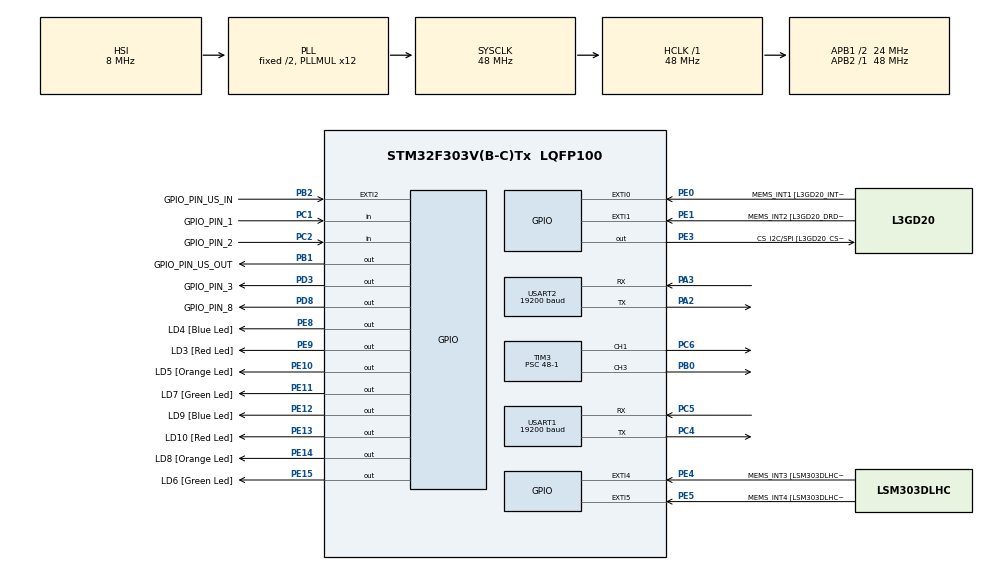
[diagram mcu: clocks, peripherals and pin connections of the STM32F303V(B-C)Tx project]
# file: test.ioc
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Mcu.Family=STM32F3
Mcu.Name=STM32F303V(B-C)Tx
Mcu.Package=LQFP100
NVIC.EXTI2_TSC_IRQn=true\:0\:0\:false\:false\:true\:true\:true\:true
NVIC.PriorityGroup=NVIC_PRIORITYGROUP_0
NVIC.USART1_IRQn=true\:0\:0\:false\:false\:true\:true\:true\:true
NVIC.USART2_IRQn=true\:0\:0\:false\:false\:true\:true\:true\:true
PA11.GPIO_Label=DM
PA11.Signal=USB_DM
PA12.GPIO_Label=DP
PA12.Signal=USB_DP
PA13.GPIO_Label=SWDIO
PA13.Signal=SYS_JTMS-SWDIO
PA14.GPIO_Label=SWCLK
PA14.Signal=SYS_JTCK-SWCLK
PA2.GPIO_ModeDefaultPP=GPIO_MODE_AF_OD
PA2.Mode=Asynchronous
PA2.Signal=USART2_TX
PA3.GPIO_ModeDefaultPP=GPIO_MODE_AF_PP
PA3.Mode=Asynchronous
PA3.Signal=USART2_RX
PA5.GPIO_Label=SPI1_SCK [L3GD20_SCL/SPC]
PA5.GPIO_Mode=GPIO_MODE_AF_PP
PA5.GPIO_PuPd=GPIO_NOPULL
PA5.GPIO_Speed=GPIO_SPEED_FREQ_LOW
PA5.Signal=SPI1_SCK
PA6.GPIO_Label=SPI1_MISO [L3GD20_SA0/SDO]
PA6.GPIO_Mode=GPIO_MODE_AF_PP
PA6.GPIO_PuPd=GPIO_NOPULL
PA6.GPIO_Speed=GPIO_SPEED_FREQ_LOW
PA6.Signal=SPI1_MISO
PA7.GPIO_Label=SPI1_MISO [L3GD20_SDA/SDI/SDO]
PA7.GPIO_Mode=GPIO_MODE_AF_PP
PA7.GPIO_PuPd=GPIO_NOPULL
PA7.GPIO_Speed=GPIO_SPEED_FREQ_LOW
PA7.Signal=SPI1_MOSI
PB0.Signal=S_TIM3_CH3
PB1.GPIO_Label=GPIO_PIN_US_OUT
PB1.GPIO_PuPd=GPIO_PULLDOWN
PB1.GPIO_Speed=GPIO_SPEED_FREQ_MEDIUM
PB1.Signal=GPIO_Output
PB2.GPIO_Label=GPIO_PIN_US_IN
PB2.GPIO_ModeDefaultEXTI=GPIO_MODE_IT_RISING_FALLING
PB2.Signal=GPXTI2
PB3.GPIO_Label=SWO
PB3.Signal=SYS_JTDO-TRACESWO
PB6.GPIO_FM6=__NULL
PB6.GPIO_Label=I2C1_SCL [LSM303DLHC_SCL]
PB6.GPIO_Mode=GPIO_MODE_AF_OD
PB6.GPIO_PuPd=GPIO_NOPULL
PB6.GPIO_Speed=GPIO_SPEED_FREQ_LOW
PB6.Signal=I2C1_SCL
PB7.GPIO_FM7=__NULL
PB7.GPIO_Label=I2C1_SDA [LSM303DLHC_SDA]
PB7.GPIO_Mode=GPIO_MODE_AF_OD
PB7.GPIO_PuPd=GPIO_NOPULL
PB7.GPIO_Speed=GPIO_SPEED_FREQ_LOW
PB7.Signal=I2C1_SDA
PC1.GPIO_Label=GPIO_PIN_1
PC1.Signal=GPIO_Input
PC14-OSC32_IN.GPIO_Label=OSC32_IN
PC14-OSC32_IN.Signal=RCC_OSC32_IN
PC15-OSC32_OUT.GPIO_Label=OSC32_OUT
PC15-OSC32_OUT.Signal=RCC_OSC32_OUT
PC2.GPIO_Label=GPIO_PIN_2
PC2.GPIO_PuPd=GPIO_PULLDOWN
PC2.Signal=GPIO_Input
PC4.GPIO_ModeDefaultPP=GPIO_MODE_AF_OD
PC4.GPIO_PuPd=GPIO_NOPULL
PC4.Mode=Asynchronous
PC4.Signal=USART1_TX
PC5.GPIO_ModeDefaultPP=GPIO_MODE_AF_PP
PC5.GPIO_PuPd=GPIO_NOPULL
PC5.Mode=Asynchronous
PC5.Signal=USART1_RX
PC6.Signal=S_TIM3_CH1
PD3.GPIO_Label=GPIO_PIN_3
PD3.Signal=GPIO_Output
PD8.GPIO_Label=GPIO_PIN_8
PD8.Signal=GPIO_Output
PE0.GPIO_Label=MEMS_INT1 [L3GD20_INT1]
PE0.GPIO_ModeDefaultEXTI=GPIO_MODE_EVT_RISING
PE0.GPIO_PuPd=GPIO_NOPULL
PE0.Signal=GPXTI0
PE1.GPIO_Label=MEMS_INT2 [L3GD20_DRDY/INT2]
PE1.GPIO_ModeDefaultEXTI=GPIO_MODE_EVT_RISING
PE1.GPIO_PuPd=GPIO_NOPULL
PE1.Signal=GPXTI1
PE10.GPIO_Label=LD5 [Orange Led]
PE10.GPIO_ModeDefaultOutputPP=GPIO_MODE_OUTPUT_PP
PE10.GPIO_PuPd=GPIO_NOPULL
PE10.GPIO_Speed=GPIO_SPEED_FREQ_LOW
PE10.Signal=GPIO_Output
PE11.GPIO_Label=LD7 [Green Led]
PE11.GPIO_ModeDefaultOutputPP=GPIO_MODE_OUTPUT_PP
PE11.GPIO_PuPd=GPIO_NOPULL
PE11.GPIO_Speed=GPIO_SPEED_FREQ_LOW
PE11.Signal=GPIO_Output
PE12.GPIO_Label=LD9 [Blue Led]
PE12.GPIO_ModeDefaultOutputPP=GPIO_MODE_OUTPUT_PP
PE12.GPIO_PuPd=GPIO_NOPULL
PE12.GPIO_Speed=GPIO_SPEED_FREQ_LOW
PE12.Signal=GPIO_Output
PE13.GPIO_Label=LD10 [Red Led]
PE13.GPIO_ModeDefaultOutputPP=GPIO_MODE_OUTPUT_PP
PE13.GPIO_PuPd=GPIO_NOPULL
PE13.GPIO_Speed=GPIO_SPEED_FREQ_LOW
PE13.Signal=GPIO_Output
PE14.GPIO_Label=LD8 [Orange Led]
PE14.GPIO_ModeDefaultOutputPP=GPIO_MODE_OUTPUT_PP
PE14.GPIO_PuPd=GPIO_NOPULL
PE14.GPIO_Speed=GPIO_SPEED_FREQ_LOW
PE14.Signal=GPIO_Output
PE15.GPIO_Label=LD6 [Green Led]
PE15.GPIO_ModeDefaultOutputPP=GPIO_MODE_OUTPUT_PP
PE15.GPIO_PuPd=GPIO_NOPULL
PE15.GPIO_Speed=GPIO_SPEED_FREQ_LOW
PE15.Signal=GPIO_Output
PE3.GPIO_Label=CS_I2C/SPI [L3GD20_CS_I2C/SPI]
PE3.GPIO_ModeDefaultOutputPP=GPIO_MODE_OUTPUT_PP
PE3.GPIO_PuPd=GPIO_NOPULL
PE3.GPIO_Speed=GPIO_SPEED_FREQ_LOW
PE3.Signal=GPIO_Output
PE4.GPIO_Label=MEMS_INT3 [LSM303DLHC_INT1]
PE4.GPIO_ModeDefaultEXTI=GPIO_MODE_EVT_RISING
PE4.GPIO_PuPd=GPIO_NOPULL
PE4.Signal=GPXTI4
PE5.GPIO_Label=MEMS_INT4 [LSM303DLHC_INT2]
PE5.GPIO_ModeDefaultEXTI=GPIO_MODE_EVT_RISING
PE5.GPIO_PuPd=GPIO_NOPULL
PE5.Signal=GPXTI5
PE8.GPIO_Label=LD4 [Blue Led]
PE8.GPIO_ModeDefaultOutputPP=GPIO_MODE_OUTPUT_PP
PE8.GPIO_PuPd=GPIO_NOPULL
PE8.GPIO_Speed=GPIO_SPEED_FREQ_LOW
PE8.Signal=GPIO_Output
PE9.GPIO_Label=LD3 [Red Led]
PE9.GPIO_ModeDefaultOutputPP=GPIO_MODE_OUTPUT_PP
PE9.GPIO_PuPd=GPIO_NOPULL
PE9.GPIO_Speed=GPIO_SPEED_FREQ_LOW
PE9.Signal=GPIO_Output
PF0-OSC_IN.GPIO_Label=OSC_IN
PF0-OSC_IN.Signal=RCC_OSC_IN
PF1-OSC_OUT.GPIO_Label=OSC_OUT
PF1-OSC_OUT.Signal=RCC_OSC_OUT
ProjectManager.HeapSize=0x200
ProjectManager.StackSize=0x400
ProjectManager.TargetToolchain=STM32CubeIDE
RCC.AHBFreq_Value=48000000
RCC.APB1CLKDivider=RCC_HCLK_DIV2
RCC.APB1Freq_Value=24000000
RCC.APB1TimFreq_Value=48000000
RCC.APB2Freq_Value=48000000
RCC.APB2TimFreq_Value=48000000
RCC.CortexFreq_Value=48000000
RCC.HCLKFreq_Value=48000000
RCC.HSE_VALUE=8000000
RCC.HSI_VALUE=8000000
RCC.LSE_VALUE=32768
RCC.PLLMUL=RCC_PLL_MUL12
RCC.SYSCLKFreq_VALUE=48000000
RCC.SYSCLKSourceVirtual=RCC_SYSCLKSOURCE_PLLCLK
RCC.USBFreq_Value=48000000
SH.S_TIM3_CH1.0=TIM3_CH1,PWM Generation1 CH1
SH.S_TIM3_CH3.0=TIM3_CH3,PWM Generation3 CH3
TIM3.Channel-PWM\ Generation1\ CH1=TIM_CHANNEL_1
TIM3.Channel-PWM\ Generation3\ CH3=TIM_CHANNEL_3
TIM3.Period=20000
TIM3.Prescaler=48-1
TIM3.Pulse-PWM\ Generation1\ CH1=2400
USART1.BaudRate=19200
USART1.Mode=MODE_TX_RX
USART1.VirtualMode-Asynchronous=VM_ASYNC
USART2.BaudRate=19200
USART2.VirtualMode-Asynchronous=VM_ASYNC
VP_TIM3_VS_ClockSourceINT.Mode=Internal
board=STM32F3DISCOVERY

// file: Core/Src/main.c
/* USER CODE BEGIN Header */
/**
 ******************************************************************************
 * @file           : main.c
 * @brief          : Main program body
 ******************************************************************************
 * @attention
 *
 * Copyright (c) 2024 STMicroelectronics.
 * All rights reserved.
 *
 * This software is licensed under terms that can be found in the LICENSE file
 * in the root directory of this software component.
 * If no LICENSE file comes with this software, it is provided AS-IS.
 *
 ******************************************************************************
 */
/* USER CODE END Header */
#include "main.h"

/* USER CODE BEGIN Includes */
#include "math.h"
#include <stdint.h>

/* USER CODE END Includes */

TIM_HandleTypeDef htim3;

UART_HandleTypeDef huart1;
UART_HandleTypeDef huart2;

void SystemClock_Config(void);
static void MX_GPIO_Init(void);
static void MX_USART2_UART_Init(void);
static void MX_USART1_UART_Init(void);
static void MX_TIM3_Init(void);
/* USER CODE BEGIN PFP */

/* Functions movement prototypes */
void move_forward_slow(void);
void move_forward_fast(void);
void move_backward_slow(void);
void turn_left(void);
void turn_right(void);
void move_stop(void);

/* Functions step movement prototypes */
void step_turn_right(void);
void step_turn_left(void);
void step_move_forward(void);
void step_min_move_forward(void);
void demi_tour(void);

/* Functions servo motor prototypes */
void look_left(void);
void look_forward(void);
void look_right(void);
void led_straigth(void);

/* Functions LED and speaker prototypes */
void switchOnLed(void);
void switchOffLed(void);
void switchOnSpeaker(void);
void switchOffSpeaker(void);
void toggleOutputSlow(void);
void toggleOutputFast(void);

/* Functions US sensor prototypes */
void send_trigger_pulse(void);
float measure_echo_pulse_duration(void);
float measure_distance(void);

/* Function follow line prototype */
void follow_line(void);

/* Functions obstacle avoidance prototypes */
void transiGoLineToGoLeft(void);
void goLeftWantUp(void);
void transiGoLeftToGoUp(void);
void goUpWantRight(void);
void transiGoUpToGoRight(void);
void goRightWantLine(void);
void transiGoRightToGoUp(void);

/* USER CODE END PFP */

/* USER CODE BEGIN 0 */

uint8_t uart1_buffer[1] = {' '};        // Buffer for UART1 (Serializer)
uint8_t uart2_buffer[1] = {' '};        // Buffer for UART2 (Raspberry Pi)

uint8_t us_sensor_echo_value = 0;       // Value of the US sensor echo signal

const float minDistDetect = 0.015;      // Minimum distance to detect an obstacle
const float shortDistDetect = 0.05;     // Short distance to detect an obstacle
const float longDistDetect = 0.07;      // Long distance to detect an obstacle

int on_line = 1;                        // Flag to know if the robot is on the line or in obstacle avoidance mode

/* USER CODE END 0 */

int main(void)
{

  /* MCU Configuration--------------------------------------------------------*/

  /* Reset of all peripherals, Initializes the Flash interface and the Systick. */
  HAL_Init();

  /* Configure the system clock */
  SystemClock_Config();

  /* Initialize all configured peripherals */
  MX_GPIO_Init();
  MX_USART2_UART_Init();
  MX_USART1_UART_Init();
  MX_TIM3_Init();
  /* USER CODE BEGIN 2 */

    HAL_UART_Receive_IT(&huart1, uart1_buffer, 1);  // Prepare UART1 reception
    HAL_UART_Receive_IT(&huart2, uart2_buffer, 1);  // Prepare UART2 reception

    HAL_TIM_PWM_Start(&htim3, TIM_CHANNEL_1);       // Prepare PWM for horizontal turret servo motor
    HAL_TIM_PWM_Start(&htim3, TIM_CHANNEL_2);       // Prepare PWM for vertical turret servo motor

    look_forward();                                 // Set the turret servo motor to look forward

  /* USER CODE END 2 */

  /* Infinite loop */
  /* USER CODE BEGIN WHILE */

    while (1) {
        // Test functions (turn 90°, turn 180°, go forward 20/10cm, look left then right then forward and get the distance from the US sensor)
    	/*
    	step_turn_right();
        HAL_Delay(1000);

    	step_turn_left();
        HAL_Delay(1000);

    	demi_tour();
    	HAL_Delay(1000);

        step_move_forward();
        HAL_Delay(1000);

        step_min_move_forward();
        HAL_Delay(1000);

        look_left();
        HAL_Delay(2000);

        look_right();
        HAL_Delay(2000);

        look_forward();
        HAL_Delay(1000);

        send_trigger_pulse();
        float distance = measure_echo_pulse_duration();
        HAL_Delay(1000);
        */

        // Basic movement
    	/*
        move_forward_slow();
        HAL_Delay(500);
        turn_left();
        HAL_Delay(500);
        move_backward_fast();
        HAL_Delay(500);
        turn_right();
        HAL_Delay(500);
        move_stop();
        HAL_Delay(1000);
        */

        // Test servo motor
        /*
        HAL_Delay(2000);
        led_straigth();
        HAL_Delay(2000);
        look_left();
        HAL_Delay(2000);
        look_forward();
        HAL_Delay(2000);
        look_right();
        HAL_Delay(2000);
        look_forward();
        HAL_Delay(2000);
        look_right();
        */

        // Test US sensor
    	/*
        HAL_Delay(100);
        send_trigger_pulse();
        float distance = measure_echo_pulse_duration();
        if (distance > 10) {
        	continue;
        } else {
        	break;
        }
        */

        // Implement US sensor and move
    	/*
        send_trigger_pulse();
        float distance = measure_echo_pulse_duration();
        if (distance != 0) {
			if (distance < 0.04) {
				move_stop();
			} else if (distance < 0.1) {
				move_forward_slow();
			} else  {
				move_forward_fast();
			}
        }
        */

        // Implement line sensor and move
        /*
        uint32_t photodiode_value_right = HAL_GPIO_ReadPin(GPIOC, GPIO_PIN_1);
        uint32_t photodiode_value_left = HAL_GPIO_ReadPin(GPIOC, GPIO_PIN_2);

        if (photodiode_value_right == GPIO_PIN_RESET && photodiode_value_left == GPIO_PIN_RESET) {
            move_forward_slow();
        } else if (photodiode_value_right == GPIO_PIN_RESET && photodiode_value_left == GPIO_PIN_SET) {
            turn_right();
        } else if (photodiode_value_right == GPIO_PIN_SET && photodiode_value_left == GPIO_PIN_RESET) {
            turn_left();
        } else {
            move_stop();
        }
        HAL_Delay(50);
        */

    	// Implement line sensor, US sensor and move
    	/*
    	look_forward();

        float distance = 0.0;
        while (distance == 0) {
			send_trigger_pulse();
			distance = measure_echo_pulse_duration();
        }

		if (distance > 0.02) {
			uint32_t photodiode_value_right = HAL_GPIO_ReadPin(GPIOC, GPIO_PIN_1);
			uint32_t photodiode_value_left = HAL_GPIO_ReadPin(GPIOC, GPIO_PIN_2);

			if (photodiode_value_right == GPIO_PIN_RESET && photodiode_value_left == GPIO_PIN_RESET) {
				if (distance < 0.07) {
					move_forward_slow();
				} else {
					move_forward_fast();
				}
			} else if (photodiode_value_right == GPIO_PIN_RESET && photodiode_value_left == GPIO_PIN_SET) {
				turn_right();
			} else if (photodiode_value_right == GPIO_PIN_SET && photodiode_value_left == GPIO_PIN_RESET) {
				turn_left();
			} else {
				move_stop();
			}
		} else {
			move_stop();
		}
		*/

    	// Move with all sensor and go around obstacle
    	/*
    	look_forward();
        float distance = measure_distance();

        if (distance > shortDistDetect) {
            uint32_t photodiode_value_right = HAL_GPIO_ReadPin(GPIOC, GPIO_PIN_1);
            uint32_t photodiode_value_left = HAL_GPIO_ReadPin(GPIOC, GPIO_PIN_2);

            if (photodiode_value_right == GPIO_PIN_RESET && photodiode_value_left == GPIO_PIN_RESET) {
				if (distance <= longDistDetect) {
					move_forward_slow();
				} else {
					move_forward_fast();
				}
			} else if (photodiode_value_right == GPIO_PIN_RESET && photodiode_value_left == GPIO_PIN_SET) {
				turn_right();
			} else if (photodiode_value_right == GPIO_PIN_SET && photodiode_value_left == GPIO_PIN_RESET) {
				turn_left();
			} else {
				move_stop();
				uint8_t interuption[1] = "I";
				HAL_UART_Transmit(&huart2, interuption, sizeof(interuption), 50);
			}
        } else {
        	move_stop();
			if (distance > minDistDetect) {
				look_left();
				distance = measure_distance();

				if (distance < shortDistDetect) {
					toggleOutputFast();
					HAL_Delay(10000);
				} else {
					transiGoLineToGoLeft();
				}
			}
        }
        */

        // Follow raspberry instruction to move
    	look_forward();
        switch (uart2_buffer[0]) {
            case 'F':               // Follow line
                follow_line();
                break;
            case 'D':               // Turn right
            	move_stop();
            	HAL_Delay(1000);
                step_turn_right();
                uart2_buffer[0] = 'S';
                break;
            case 'Q':               // Turn left
            	move_stop();
            	HAL_Delay(1000);
                step_turn_left();
                uart2_buffer[0] = 'S';
                break;
            case 'R':               // Turn around
            	move_stop();
            	HAL_Delay(1000);
                step_turn_right();
                step_turn_right();
                uart2_buffer[0] = 'S';
                break;
            case 'Z':               // Move a little forward
            	move_stop();
            	HAL_Delay(1000);
				step_min_move_forward();
				uart2_buffer[0] = 'S';
                break;
            case 'T':               // Toggle LED and speaker (book found)
            	move_stop();
            	toggleOutputSlow();
            	uart2_buffer[0] = 'S';
            	break;
            default:                // Stop the robot
                move_stop();
        }
        HAL_Delay(5);

    /* USER CODE END WHILE */

    }
}

void SystemClock_Config(void)
{
  RCC_OscInitTypeDef RCC_OscInitStruct = {0};
  RCC_ClkInitTypeDef RCC_ClkInitStruct = {0};
  RCC_PeriphCLKInitTypeDef PeriphClkInit = {0};

  /** Initializes the RCC Oscillators according to the specified parameters
  * in the RCC_OscInitTypeDef structure.
  */
  RCC_OscInitStruct.OscillatorType = RCC_OSCILLATORTYPE_HSI;
  RCC_OscInitStruct.HSIState = RCC_HSI_ON;
  RCC_OscInitStruct.HSICalibrationValue = RCC_HSICALIBRATION_DEFAULT;
  RCC_OscInitStruct.PLL.PLLState = RCC_PLL_ON;
  RCC_OscInitStruct.PLL.PLLSource = RCC_PLLSOURCE_HSI;
  RCC_OscInitStruct.PLL.PLLMUL = RCC_PLL_MUL12;
  if (HAL_RCC_OscConfig(&RCC_OscInitStruct) != HAL_OK)
  {
    Error_Handler();
  }

  /** Initializes the CPU, AHB and APB buses clocks
  */
  RCC_ClkInitStruct.ClockType = RCC_CLOCKTYPE_HCLK|RCC_CLOCKTYPE_SYSCLK
                              |RCC_CLOCKTYPE_PCLK1|RCC_CLOCKTYPE_PCLK2;
  RCC_ClkInitStruct.SYSCLKSource = RCC_SYSCLKSOURCE_PLLCLK;
  RCC_ClkInitStruct.AHBCLKDivider = RCC_SYSCLK_DIV1;
  RCC_ClkInitStruct.APB1CLKDivider = RCC_HCLK_DIV2;
  RCC_ClkInitStruct.APB2CLKDivider = RCC_HCLK_DIV1;

  if (HAL_RCC_ClockConfig(&RCC_ClkInitStruct, FLASH_LATENCY_1) != HAL_OK)
  {
    Error_Handler();
  }
  PeriphClkInit.PeriphClockSelection = RCC_PERIPHCLK_USART1|RCC_PERIPHCLK_USART2;
  PeriphClkInit.Usart1ClockSelection = RCC_USART1CLKSOURCE_PCLK2;
  PeriphClkInit.Usart2ClockSelection = RCC_USART2CLKSOURCE_PCLK1;
  if (HAL_RCCEx_PeriphCLKConfig(&PeriphClkInit) != HAL_OK)
  {
    Error_Handler();
  }
}

static void MX_TIM3_Init(void)
{

  TIM_ClockConfigTypeDef sClockSourceConfig = {0};
  TIM_MasterConfigTypeDef sMasterConfig = {0};
  TIM_OC_InitTypeDef sConfigOC = {0};

  htim3.Instance = TIM3;
  htim3.Init.Prescaler = 48-1;
  htim3.Init.CounterMode = TIM_COUNTERMODE_UP;
  htim3.Init.Period = 20000;
  htim3.Init.ClockDivision = TIM_CLOCKDIVISION_DIV1;
  htim3.Init.AutoReloadPreload = TIM_AUTORELOAD_PRELOAD_DISABLE;
  if (HAL_TIM_Base_Init(&htim3) != HAL_OK)
  {
    Error_Handler();
  }
  sClockSourceConfig.ClockSource = TIM_CLOCKSOURCE_INTERNAL;
  if (HAL_TIM_ConfigClockSource(&htim3, &sClockSourceConfig) != HAL_OK)
  {
    Error_Handler();
  }
  if (HAL_TIM_PWM_Init(&htim3) != HAL_OK)
  {
    Error_Handler();
  }
  sMasterConfig.MasterOutputTrigger = TIM_TRGO_RESET;
  sMasterConfig.MasterSlaveMode = TIM_MASTERSLAVEMODE_DISABLE;
  if (HAL_TIMEx_MasterConfigSynchronization(&htim3, &sMasterConfig) != HAL_OK)
  {
    Error_Handler();
  }
  sConfigOC.OCMode = TIM_OCMODE_PWM1;
  sConfigOC.Pulse = 2400;
  sConfigOC.OCPolarity = TIM_OCPOLARITY_HIGH;
  sConfigOC.OCFastMode = TIM_OCFAST_DISABLE;
  if (HAL_TIM_PWM_ConfigChannel(&htim3, &sConfigOC, TIM_CHANNEL_1) != HAL_OK)
  {
    Error_Handler();
  }
  sConfigOC.Pulse = 0;
  if (HAL_TIM_PWM_ConfigChannel(&htim3, &sConfigOC, TIM_CHANNEL_3) != HAL_OK)
  {
    Error_Handler();
  }
  HAL_TIM_MspPostInit(&htim3);

}

static void MX_USART1_UART_Init(void)
{

  huart1.Instance = USART1;
  huart1.Init.BaudRate = 19200;
  huart1.Init.WordLength = UART_WORDLENGTH_8B;
  huart1.Init.StopBits = UART_STOPBITS_1;
  huart1.Init.Parity = UART_PARITY_NONE;
  huart1.Init.Mode = UART_MODE_TX_RX;
  huart1.Init.HwFlowCtl = UART_HWCONTROL_NONE;
  huart1.Init.OverSampling = UART_OVERSAMPLING_16;
  huart1.Init.OneBitSampling = UART_ONE_BIT_SAMPLE_DISABLE;
  huart1.AdvancedInit.AdvFeatureInit = UART_ADVFEATURE_NO_INIT;
  if (HAL_UART_Init(&huart1) != HAL_OK)
  {
    Error_Handler();
  }

}

static void MX_USART2_UART_Init(void)
{

  huart2.Instance = USART2;
  huart2.Init.BaudRate = 19200;
  huart2.Init.WordLength = UART_WORDLENGTH_8B;
  huart2.Init.StopBits = UART_STOPBITS_1;
  huart2.Init.Parity = UART_PARITY_NONE;
  huart2.Init.Mode = UART_MODE_TX_RX;
  huart2.Init.HwFlowCtl = UART_HWCONTROL_NONE;
  huart2.Init.OverSampling = UART_OVERSAMPLING_16;
  huart2.Init.OneBitSampling = UART_ONE_BIT_SAMPLE_DISABLE;
  huart2.AdvancedInit.AdvFeatureInit = UART_ADVFEATURE_NO_INIT;
  if (HAL_UART_Init(&huart2) != HAL_OK)
  {
    Error_Handler();
  }

}

static void MX_GPIO_Init(void)
{
  GPIO_InitTypeDef GPIO_InitStruct = {0};

  /* GPIO Ports Clock Enable */
  __HAL_RCC_GPIOE_CLK_ENABLE();
  __HAL_RCC_GPIOC_CLK_ENABLE();
  __HAL_RCC_GPIOF_CLK_ENABLE();
  __HAL_RCC_GPIOA_CLK_ENABLE();
  __HAL_RCC_GPIOB_CLK_ENABLE();
  __HAL_RCC_GPIOD_CLK_ENABLE();

  /*Configure GPIO pin Output Level */
  HAL_GPIO_WritePin(GPIOE, CS_I2C_SPI_Pin|LD4_Pin|LD3_Pin|LD5_Pin
                          |LD7_Pin|LD9_Pin|LD10_Pin|LD8_Pin
                          |LD6_Pin, GPIO_PIN_RESET);

  /*Configure GPIO pin Output Level */
  HAL_GPIO_WritePin(GPIO_PIN_US_OUT_GPIO_Port, GPIO_PIN_US_OUT_Pin, GPIO_PIN_RESET);

  /*Configure GPIO pin Output Level */
  HAL_GPIO_WritePin(GPIOD, GPIO_PIN_8_Pin|GPIO_PIN_3_Pin, GPIO_PIN_RESET);

  /*Configure GPIO pins : CS_I2C_SPI_Pin LD4_Pin LD3_Pin LD5_Pin
                           LD7_Pin LD9_Pin LD10_Pin LD8_Pin
                           LD6_Pin */
  GPIO_InitStruct.Pin = CS_I2C_SPI_Pin|LD4_Pin|LD3_Pin|LD5_Pin
                          |LD7_Pin|LD9_Pin|LD10_Pin|LD8_Pin
                          |LD6_Pin;
  GPIO_InitStruct.Mode = GPIO_MODE_OUTPUT_PP;
  GPIO_InitStruct.Pull = GPIO_NOPULL;
  GPIO_InitStruct.Speed = GPIO_SPEED_FREQ_LOW;
  HAL_GPIO_Init(GPIOE, &GPIO_InitStruct);

  /*Configure GPIO pins : MEMS_INT3_Pin MEMS_INT4_Pin MEMS_INT1_Pin MEMS_INT2_Pin */
  GPIO_InitStruct.Pin = MEMS_INT3_Pin|MEMS_INT4_Pin|MEMS_INT1_Pin|MEMS_INT2_Pin;
  GPIO_InitStruct.Mode = GPIO_MODE_EVT_RISING;
  GPIO_InitStruct.Pull = GPIO_NOPULL;
  HAL_GPIO_Init(GPIOE, &GPIO_InitStruct);

  /*Configure GPIO pin : PtPin */
  GPIO_InitStruct.Pin = GPIO_PIN_1_Pin;
  GPIO_InitStruct.Mode = GPIO_MODE_INPUT;
  GPIO_InitStruct.Pull = GPIO_NOPULL;
  HAL_GPIO_Init(GPIO_PIN_1_GPIO_Port, &GPIO_InitStruct);

  /*Configure GPIO pin : PtPin */
  GPIO_InitStruct.Pin = GPIO_PIN_2_Pin;
  GPIO_InitStruct.Mode = GPIO_MODE_INPUT;
  GPIO_InitStruct.Pull = GPIO_PULLDOWN;
  HAL_GPIO_Init(GPIO_PIN_2_GPIO_Port, &GPIO_InitStruct);

  /*Configure GPIO pins : SPI1_SCK_Pin SPI1_MISO_Pin SPI1_MISOA7_Pin */
  GPIO_InitStruct.Pin = SPI1_SCK_Pin|SPI1_MISO_Pin|SPI1_MISOA7_Pin;
  GPIO_InitStruct.Mode = GPIO_MODE_AF_PP;
  GPIO_InitStruct.Pull = GPIO_NOPULL;
  GPIO_InitStruct.Speed = GPIO_SPEED_FREQ_LOW;
  GPIO_InitStruct.Alternate = GPIO_AF5_SPI1;
  HAL_GPIO_Init(GPIOA, &GPIO_InitStruct);

  /*Configure GPIO pin : PtPin */
  GPIO_InitStruct.Pin = GPIO_PIN_US_OUT_Pin;
  GPIO_InitStruct.Mode = GPIO_MODE_OUTPUT_PP;
  GPIO_InitStruct.Pull = GPIO_PULLDOWN;
  GPIO_InitStruct.Speed = GPIO_SPEED_FREQ_MEDIUM;
  HAL_GPIO_Init(GPIO_PIN_US_OUT_GPIO_Port, &GPIO_InitStruct);

  /*Configure GPIO pin : PtPin */
  GPIO_InitStruct.Pin = GPIO_PIN_US_IN_Pin;
  GPIO_InitStruct.Mode = GPIO_MODE_IT_RISING_FALLING;
  GPIO_InitStruct.Pull = GPIO_NOPULL;
  HAL_GPIO_Init(GPIO_PIN_US_IN_GPIO_Port, &GPIO_InitStruct);

  /*Configure GPIO pins : PDPin PDPin */
  GPIO_InitStruct.Pin = GPIO_PIN_8_Pin|GPIO_PIN_3_Pin;
  GPIO_InitStruct.Mode = GPIO_MODE_OUTPUT_PP;
  GPIO_InitStruct.Pull = GPIO_NOPULL;
  GPIO_InitStruct.Speed = GPIO_SPEED_FREQ_LOW;
  HAL_GPIO_Init(GPIOD, &GPIO_InitStruct);

  /*Configure GPIO pins : DM_Pin DP_Pin */
  GPIO_InitStruct.Pin = DM_Pin|DP_Pin;
  GPIO_InitStruct.Mode = GPIO_MODE_AF_PP;
  GPIO_InitStruct.Pull = GPIO_NOPULL;
  GPIO_InitStruct.Speed = GPIO_SPEED_FREQ_HIGH;
  GPIO_InitStruct.Alternate = GPIO_AF14_USB;
  HAL_GPIO_Init(GPIOA, &GPIO_InitStruct);

  /*Configure GPIO pins : I2C1_SCL_Pin I2C1_SDA_Pin */
  GPIO_InitStruct.Pin = I2C1_SCL_Pin|I2C1_SDA_Pin;
  GPIO_InitStruct.Mode = GPIO_MODE_AF_OD;
  GPIO_InitStruct.Pull = GPIO_NOPULL;
  GPIO_InitStruct.Speed = GPIO_SPEED_FREQ_LOW;
  GPIO_InitStruct.Alternate = GPIO_AF4_I2C1;
  HAL_GPIO_Init(GPIOB, &GPIO_InitStruct);

  /* EXTI interrupt init*/
  HAL_NVIC_SetPriority(EXTI2_TSC_IRQn, 0, 0);
  HAL_NVIC_EnableIRQ(EXTI2_TSC_IRQn);

}

/* USER CODE BEGIN 4 */

/*
 * Global callback functions
*/

/* Callback function for US sensor interruption */
void HAL_GPIO_EXTI_Callback(uint16_t GPIO_Pin) {
    UNUSED(GPIO_Pin);
    if (GPIO_Pin == GPIO_PIN_US_IN_Pin) {
        us_sensor_echo_value = HAL_GPIO_ReadPin(GPIO_PIN_US_IN_GPIO_Port, GPIO_PIN_US_IN_Pin);
    }
}

/* Callback function for UART reception */
void HAL_UART_RxCpltCallback(UART_HandleTypeDef *huart) {
    UNUSED(huart);

    if (huart->Instance == USART2) {
        HAL_UART_Receive_IT(&huart2, uart2_buffer, 1);
    } else {
        Error_Handler();
    }
}

/*
 * Mouvemnt functions
*/

/* Send a command to the robot to move forward slowly */
void move_forward_slow(void) {
    uint8_t go_forward[13] = "mogo 1:5 2:5\r";
    HAL_UART_Transmit(&huart1, go_forward, sizeof(go_forward), 50);
}

/* Send a command to the robot to move forward fast */
void move_forward_fast(void) {
    uint8_t go_forward[15] = "mogo 1:7 2:7\r";
    HAL_UART_Transmit(&huart1, go_forward, sizeof(go_forward), 50);
}

/* Send a command to the robot to move backward slowly */
void move_backward_slow(void) {
    uint8_t go_backward[15] = "mogo 1:-5 2:-5\r";
    HAL_UART_Transmit(&huart1, go_backward, sizeof(go_backward), 50);
}

/* Send a command to the robot to turn left */
void turn_left(void) {
    uint8_t go_left[16] = "mogo 1:-5 2:5\r";
    HAL_UART_Transmit(&huart1, go_left, sizeof(go_left), 50);
}

/* Send a command to the robot to turn right */
void turn_right(void) {
    uint8_t go_right[16] = "mogo 1:5 2:-5\r";
    HAL_UART_Transmit(&huart1, go_right, sizeof(go_right), 50);
}

/* Send a command to the robot to stop moving */
void move_stop(void) {
    uint8_t stop[5] = "stop\r";
    HAL_UART_Transmit(&huart1, stop, sizeof(stop), 50);
}

/*
 * Step movement functions
*/

/* Send a command to the robot to turn right (90°) */
void step_turn_right(void) {
	uint8_t go_right[26] = "digo 1:1500:-12 2:1500:12\r";
	HAL_UART_Transmit(&huart1, go_right, sizeof(go_right), 50);
	HAL_Delay(2000);
}

/* Send a command to the robot to turn left (90°) */
void step_turn_left(void) {
	uint8_t go_left[26] = "digo 1:1500:12 2:1500:-12\r";
	HAL_UART_Transmit(&huart1, go_left, sizeof(go_left), 50);
	HAL_Delay(2000);
}

/* Send a command to the robot to turn around (180°) */
void demi_tour(void) {
	step_turn_right();
    step_turn_right();
}

/* Send a command to the robot to move forward (20cm) */
void step_move_forward(void) {
    move_forward_slow();
    HAL_Delay(1650);
    move_stop();
    HAL_Delay(10);
}

/* Send a command to the robot to move forward (10cm) */
void step_min_move_forward(void) {
    move_forward_slow();
    HAL_Delay(800);
    move_stop();
    HAL_Delay(10);
}

/*
 * Servo motor functions
*/

/* Send a command to the horizontal turret servo motor to look left */
void look_left(void) {
    htim3.Instance->CCR1 = 600;
}

/* Send a command to the horizontal turret servo motor to look forward */
void look_forward(void) {
    htim3.Instance->CCR1 = 1500;
}

/* Send a command to the horizontal turret servo motor to look right */
void look_right(void) {
    htim3.Instance->CCR1 = 2400;
}

/* Send a command to the vertical turret servo motor to look straight */
void led_straigth(void) {
    htim3.Instance->CCR3 = 2400;
}

/*
 * TOGGLE LED and speacker functions
*/

/* Allumer la LED */
void switchOnLed(void) {
	HAL_GPIO_WritePin(GPIOD, GPIO_PIN_3, GPIO_PIN_SET);
}

/* Éteindre la LED */
void switchOffLed(void) {
	HAL_GPIO_WritePin(GPIOD, GPIO_PIN_3, GPIO_PIN_RESET);
}

/* Faire du bruit avec le speaker */
void switchOnSpeaker(void) {
    HAL_GPIO_WritePin(GPIOD, GPIO_PIN_8, GPIO_PIN_SET);
}

/* Arrêter le bruit avec le speaker */
void switchOffSpeaker(void) {
    HAL_GPIO_WritePin(GPIOD, GPIO_PIN_8, GPIO_PIN_RESET);
}

/* Faire bipper la LED et le speaker lentement */
void toggleOutputSlow(void) {
    for (int i = 0; i < 5; i++) {
        // Allumer la LED et le speaker
        switchOnLed();
        switchOnSpeaker();
        HAL_Delay(800);

        // Éteindre la LED et le speaker
        switchOffLed();
        switchOffSpeaker();
        HAL_Delay(800);
    }
}

/* Faire bipper la LED et le speaker rapidement */
void toggleOutputFast(void) {
    for (int i = 0; i < 5; i++) {
        // Allumer la LED et le speaker
        switchOnLed();
        switchOnSpeaker();
        HAL_Delay(250);

        // Éteindre la LED et le speaker
        switchOffLed();
        switchOffSpeaker();
        HAL_Delay(250);
    }
}

/*
 * US sensor functions
*/

/* Send to the US sensor a trigger pulse to start the measurement */
void send_trigger_pulse(void) {
    HAL_GPIO_WritePin(GPIO_PIN_US_OUT_GPIO_Port, GPIO_PIN_US_OUT_Pin, GPIO_PIN_SET);
    HAL_Delay(1);
    HAL_GPIO_WritePin(GPIO_PIN_US_OUT_GPIO_Port, GPIO_PIN_US_OUT_Pin, GPIO_PIN_RESET);
}

/* Measure the duration of the echo pulse to calculate the distance */
float measure_echo_pulse_duration(void) {
	uint32_t start_time, end_time, pulse_duration;

    // Wait for the signal ECHO to become HIGH
    while (!us_sensor_echo_value) {};
    start_time = HAL_GetTick();

    // Wait for the signal ECHO to become LOW
    while (us_sensor_echo_value) {};
    end_time = HAL_GetTick();

    // Calculate the duration of the pulse
    pulse_duration = end_time - start_time;

    // Calculate the distance in cm
    float distance_cm = pulse_duration / 58.0f;
    return distance_cm;
}

/* Measure the distance between the robot and an obstacle */
float measure_distance(void) {
    float distance = 0.0;
    while (distance <= 0.001) {
        send_trigger_pulse();
        distance = measure_echo_pulse_duration();
    }
    return distance;
}

/*
 * Follow line function
*/

/* Follow the line on the ground and adapt the movement of the robot according to the US sensor */
void follow_line(void) {
	look_forward();

	float distance = 0.0;
	while (distance <= 0.001) {
		send_trigger_pulse();
		distance = measure_echo_pulse_duration();
	}

	if (distance > minDistDetect) {
		uint32_t photodiode_value_right = HAL_GPIO_ReadPin(GPIOC, GPIO_PIN_1);
		uint32_t photodiode_value_left = HAL_GPIO_ReadPin(GPIOC, GPIO_PIN_2);

		if (photodiode_value_right == GPIO_PIN_RESET && photodiode_value_left == GPIO_PIN_RESET) {
			if (distance < longDistDetect) {
				move_forward_slow();
			} else {
				move_forward_fast();
			}
		} else if (photodiode_value_right == GPIO_PIN_RESET && photodiode_value_left == GPIO_PIN_SET) {
			turn_right();
		} else if (photodiode_value_right == GPIO_PIN_SET && photodiode_value_left == GPIO_PIN_RESET) {
			turn_left();
		} else {
			move_stop();
			uint8_t interuption[2] = "I\r";         // Send an "interruption" to the Raspberry Pi
			HAL_UART_Transmit(&huart2, interuption, sizeof(interuption), 50);
			uart2_buffer[0] = 'S';
		}
	} else {
		move_stop();
	}
}

/*
 * Obstacle avoidance functions
*/

/* Transition function from follow line to obstacle avoidance */
void transiGoLineToGoLeft(void) {
    on_line = 0;
    step_turn_left();
    look_forward();
    goLeftWantUp();
}

/* Function to search a path up by going left */
void goLeftWantUp(void) {
    step_move_forward();
    look_right();

    float distance = measure_distance();

    if (distance < shortDistDetect) {
        move_stop();
        look_forward();
        distance = measure_distance();

        if (distance < shortDistDetect) {
            toggleOutputFast();
            HAL_Delay(10000);
        } else {
            goLeftWantUp();
        }
    } else {
        transiGoLeftToGoUp();
    }
}

/* Transition function from go left to go up */
void transiGoLeftToGoUp(void) {
    step_turn_right();
    look_forward();
    goUpWantRight();
}

/* Function to search a path right by going up */
void goUpWantRight(void) {
    step_move_forward();
    look_right();

    float distance = measure_distance();

    if (distance < shortDistDetect) {
        move_stop();
        look_forward();
        distance = measure_distance();

        if (distance < shortDistDetect) {
            look_left();
            distance = measure_distance();

            if (distance < shortDistDetect) {
                toggleOutputFast();
                HAL_Delay(10000);
            } else {
                transiGoLineToGoLeft();
            }
        } else {
            goUpWantRight();
        }
    } else {
        transiGoUpToGoRight();
    }
}

/* Transition function from go up to go right */
void transiGoUpToGoRight(void) {
    step_turn_right();
    look_forward();
    goRightWantLine();
}

/* Function to search a path right (to the line) by going up */
void goRightWantLine(void) {
    while (!on_line) {
        look_forward();

        float distance = measure_distance();

        if (distance < shortDistDetect) {
            move_stop();
            look_left();
            distance = measure_distance();

            if (distance < shortDistDetect) {
                toggleOutputFast();
                HAL_Delay(10000);
            } else {
                transiGoRightToGoUp();
            }
        } else {
            uint32_t photodiode_value_right = HAL_GPIO_ReadPin(GPIOC, GPIO_PIN_1);
            uint32_t photodiode_value_left = HAL_GPIO_ReadPin(GPIOC, GPIO_PIN_2);

            if (photodiode_value_right == GPIO_PIN_RESET && photodiode_value_left == GPIO_PIN_RESET) {
                step_turn_left();
                look_forward();
                on_line = 1;
            } else if (photodiode_value_right == GPIO_PIN_RESET && photodiode_value_left == GPIO_PIN_SET) {
                turn_right();
            } else if (photodiode_value_right == GPIO_PIN_SET && photodiode_value_left == GPIO_PIN_RESET) {
                turn_left();
            } else {
            	move_stop();
            }
        }
    }
}

/* Transition function from go right to go up */
void transiGoRightToGoUp(void) {
    step_turn_right();
    look_forward();
    goUpWantRight();
}

/* USER CODE END 4 */

void Error_Handler(void)
{
    __disable_irq();
    while (1) {
    }
}
